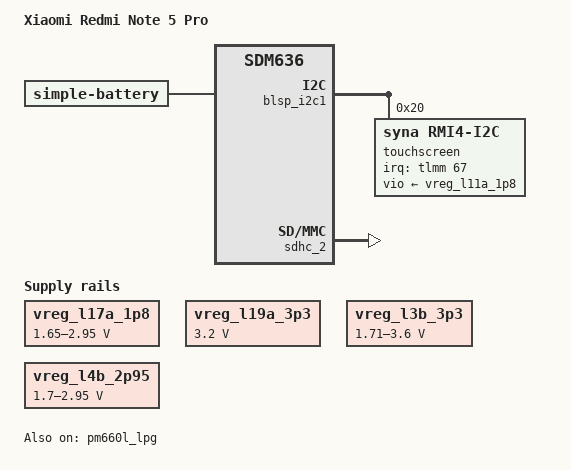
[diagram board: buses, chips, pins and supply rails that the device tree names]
// SPDX-License-Identifier: GPL-2.0-only
/*
 * Copyright (c) 2025, Mathesh Velayudan <123v.mathesh@gmail.com>
 * Copyright (c) 2025, Alexey Minnekhanov <alexeymin@minlexx.ru>
 */

/dts-v1/;

#include "sdm636.dtsi"
#include "sdm660-xiaomi-common.dtsi"
#include <dt-bindings/gpio/gpio.h>
#include <dt-bindings/leds/common.h>

/ {
	model = "Xiaomi Redmi Note 5 Pro";
	compatible = "xiaomi,whyred", "qcom,sdm636";
	chassis-type = "handset";

	battery: battery {
		compatible = "simple-battery";
		charge-full-design-microamp-hours = <4000000>;
		voltage-min-design-microvolt = <3400000>;
		voltage-max-design-microvolt = <4408000>;
	};

	reserved-memory {
		ramoops@a0000000 {
			console-size = <0x200000>;
			record-size = <0>;
			pmsg-size = <0x200000>;
		};
	};
};

&blsp1_uart2 {
	status = "disabled";
};

&blsp_i2c1 {
	status = "okay";

	/* Synaptics E753 */
	touchscreen@20 {
		compatible = "syna,rmi4-i2c";
		reg = <0x20>;

		#address-cells = <1>;
		#size-cells = <0>;
		interrupts-extended = <&tlmm 67 IRQ_TYPE_EDGE_FALLING>;

		pinctrl-0 = <&ts_active>;
		pinctrl-names = "default";

		vio-supply = <&vreg_l11a_1p8>;

		syna,reset-delay-ms = <300>;
		syna,startup-delay-ms = <600>;

		rmi4-f01@1 {
			reg = <0x01>;
			syna,nosleep-mode = <1>;
		};

		rmi4-f11@11 {
			reg = <0x11>;
			syna,sensor-type = <1>;
		};
	};
};

&framebuffer_mem {
	reg = <0x0 0x9d400000 0x0 0x8e6200>;
};

&framebuffer0 {
	width = <1080>;
	height = <2160>;
	stride = <(1080 * 4)>;

	status = "okay";
};

&pm660_charger {
	monitored-battery = <&battery>;
};

&pm660l_lpg {
	#address-cells = <1>;
	#size-cells = <0>;
	qcom,power-source = <1>;

	status = "okay";

	led@3 {
		reg = <3>;
		color = <LED_COLOR_ID_WHITE>;
		function = LED_FUNCTION_STATUS;
	};
};

&sdhc_2 {
	status = "okay";
};

&tlmm {
	gpio-reserved-ranges = <8 4>; /* Fingerprint SPI */

	ts_active: ts-active-state {
		pins = "gpio66", "gpio67";
		function = "gpio";
		drive-strength = <10>;
		bias-pull-up;
	};
};

&vreg_l16a_2p7 {
	regulator-always-on;
};

&vreg_l17a_1p8 {
	regulator-min-microvolt = <1650000>;
	regulator-max-microvolt = <2950000>;
};

&vreg_l19a_3p3 {
	regulator-min-microvolt = <3200000>;
};

&vreg_l3b_3p3 {
	regulator-min-microvolt = <1710000>;
	regulator-max-microvolt = <3600000>;
	regulator-always-on;
};

&vreg_l4b_2p95 {
	regulator-min-microvolt = <1700000>;
	regulator-max-microvolt = <2950000>;
};

&vreg_l5b_2p95 {
	regulator-system-load = <800000>;
};

&vreg_l8a_1p8 {
	regulator-max-microvolt = <1900000>;
};
